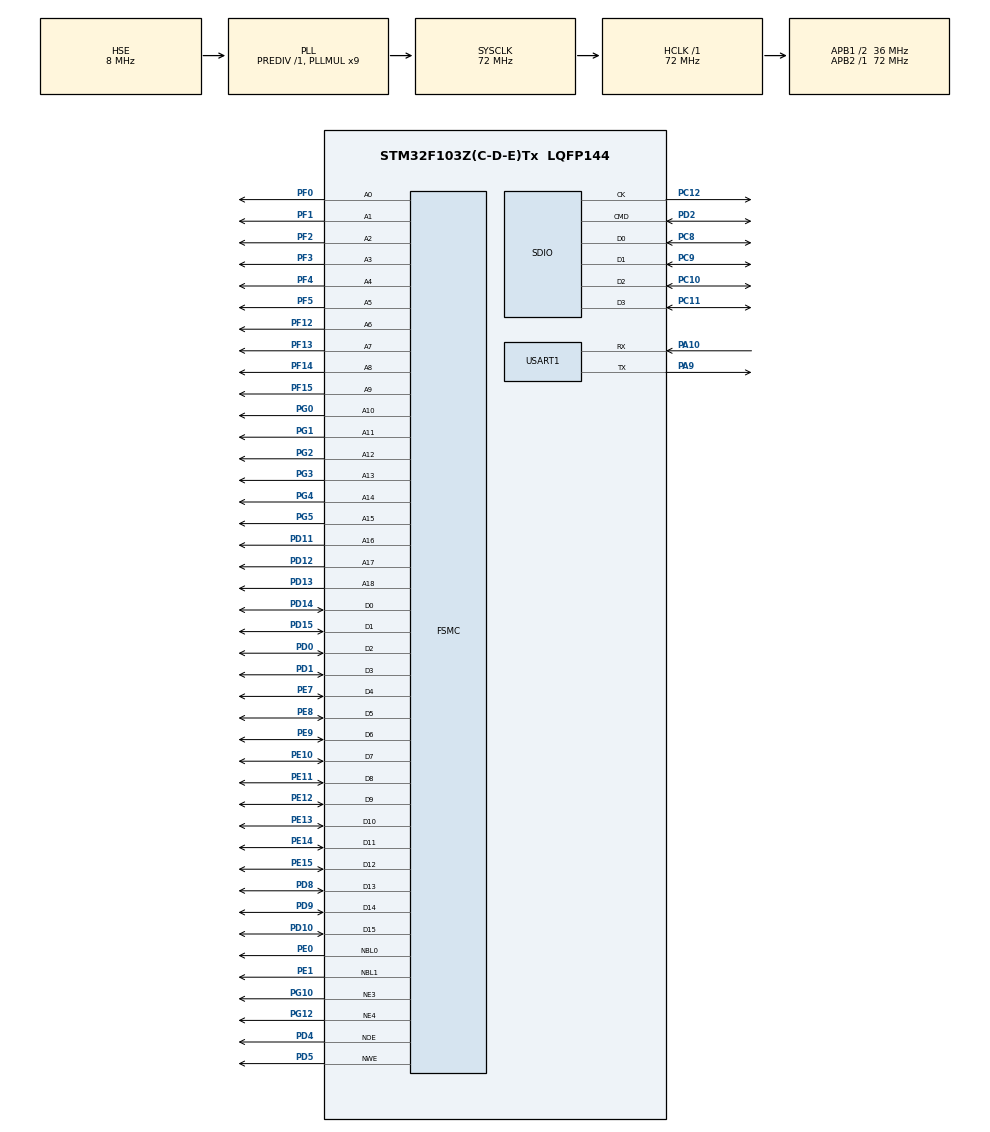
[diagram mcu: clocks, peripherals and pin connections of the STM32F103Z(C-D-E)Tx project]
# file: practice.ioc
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Dma.Request0=SDIO
Dma.SDIO.0.Direction=DMA_PERIPH_TO_MEMORY
Dma.SDIO.0.Instance=DMA2_Channel4
Dma.SDIO.0.MemDataAlignment=DMA_MDATAALIGN_WORD
Dma.SDIO.0.MemInc=DMA_MINC_ENABLE
Dma.SDIO.0.Mode=DMA_NORMAL
Dma.SDIO.0.PeriphDataAlignment=DMA_PDATAALIGN_WORD
Dma.SDIO.0.PeriphInc=DMA_PINC_DISABLE
Dma.SDIO.0.Priority=DMA_PRIORITY_LOW
FSMC.AccessMode3=FSMC_ACCESS_MODE_A
FSMC.AddressSetupTime3=4
FSMC.BusTurnAroundDuration3=0
FSMC.DataSetupTime3=2
FSMC.ExtendedAddressSetupTime3=2
FSMC.ExtendedBusTurnAroundDuration3=0
FSMC.ExtendedDataSetupTime3=2
FSMC.ExtendedMode3=FSMC_EXTENDED_MODE_ENABLE
FSMC.WriteOperation3=FSMC_WRITE_OPERATION_ENABLE
Mcu.Family=STM32F1
Mcu.Name=STM32F103Z(C-D-E)Tx
Mcu.Package=LQFP144
NVIC.DMA2_Channel4_5_IRQn=true\:1\:0\:true\:false\:true\:false\:true\:true
NVIC.PriorityGroup=NVIC_PRIORITYGROUP_4
NVIC.SDIO_IRQn=true\:0\:0\:false\:false\:true\:true\:true\:true
OSC_IN.Mode=HSE-External-Oscillator
OSC_IN.Signal=RCC_OSC_IN
OSC_OUT.Mode=HSE-External-Oscillator
OSC_OUT.Signal=RCC_OSC_OUT
PA10.Mode=Asynchronous
PA10.Signal=USART1_RX
PA13.Mode=Serial_Wire
PA13.Signal=SYS_JTMS-SWDIO
PA14.Mode=Serial_Wire
PA14.Signal=SYS_JTCK-SWCLK
PA9.Mode=Asynchronous
PA9.Signal=USART1_TX
PC10.Mode=SD_4_bits_Wide_bus
PC10.Signal=SDIO_D2
PC11.Mode=SD_4_bits_Wide_bus
PC11.Signal=SDIO_D3
PC12.Mode=SD_4_bits_Wide_bus
PC12.Signal=SDIO_CK
PC8.Mode=SD_4_bits_Wide_bus
PC8.Signal=SDIO_D0
PC9.Mode=SD_4_bits_Wide_bus
PC9.Signal=SDIO_D1
PD0.Signal=FSMC_D2_DA2
PD1.Signal=FSMC_D3_DA3
PD10.Signal=FSMC_D15_DA15
PD11.Signal=FSMC_A16_CLE
PD12.Signal=FSMC_A17_ALE
PD13.Signal=FSMC_A18
PD14.Signal=FSMC_D0_DA0
PD15.Signal=FSMC_D1_DA1
PD2.Mode=SD_4_bits_Wide_bus
PD2.Signal=SDIO_CMD
PD4.Signal=FSMC_NOE
PD5.Signal=FSMC_NWE
PD8.Signal=FSMC_D13_DA13
PD9.Signal=FSMC_D14_DA14
PE0.Signal=FSMC_NBL0
PE1.Signal=FSMC_NBL1
PE10.Signal=FSMC_D7_DA7
PE11.Signal=FSMC_D8_DA8
PE12.Signal=FSMC_D9_DA9
PE13.Signal=FSMC_D10_DA10
PE14.Signal=FSMC_D11_DA11
PE15.Signal=FSMC_D12_DA12
PE7.Signal=FSMC_D4_DA4
PE8.Signal=FSMC_D5_DA5
PE9.Signal=FSMC_D6_DA6
PF0.Signal=FSMC_A0
PF1.Signal=FSMC_A1
PF12.Signal=FSMC_A6
PF13.Signal=FSMC_A7
PF14.Signal=FSMC_A8
PF15.Signal=FSMC_A9
PF2.Signal=FSMC_A2
PF3.Signal=FSMC_A3
PF4.Signal=FSMC_A4
PF5.Signal=FSMC_A5
PG0.Signal=FSMC_A10
PG1.Signal=FSMC_A11
PG10.Mode=NorPsramChipSelect3_3
PG10.Signal=FSMC_NE3
PG12.Mode=NorPsramChipSelect4_4
PG12.Signal=FSMC_NE4
PG2.Signal=FSMC_A12
PG3.Signal=FSMC_A13
PG4.Signal=FSMC_A14
PG5.Signal=FSMC_A15
ProjectManager.HeapSize=0x200
ProjectManager.StackSize=0x400
ProjectManager.TargetToolchain=MDK-ARM V5.32
RCC.AHBFreq_Value=72000000
RCC.APB1CLKDivider=RCC_HCLK_DIV2
RCC.APB1Freq_Value=36000000
RCC.APB1TimFreq_Value=72000000
RCC.APB2Freq_Value=72000000
RCC.APB2TimFreq_Value=72000000
RCC.HCLKFreq_Value=72000000
RCC.PLLMUL=RCC_PLL_MUL9
RCC.PLLSourceVirtual=RCC_PLLSOURCE_HSE
RCC.SYSCLKFreq_VALUE=72000000
RCC.SYSCLKSource=RCC_SYSCLKSOURCE_PLLCLK
RCC.USBFreq_Value=72000000
SDIO.ClockDiv=4
SH.FSMC_A0.0=FSMC_A0,19b-a3
SH.FSMC_A1.0=FSMC_A1,19b-a3
SH.FSMC_A10.0=FSMC_A10,A10_4
SH.FSMC_A10.1=FSMC_A10,19b-a3
SH.FSMC_A11.0=FSMC_A11,19b-a3
SH.FSMC_A12.0=FSMC_A12,19b-a3
SH.FSMC_A13.0=FSMC_A13,19b-a3
SH.FSMC_A14.0=FSMC_A14,19b-a3
SH.FSMC_A15.0=FSMC_A15,19b-a3
SH.FSMC_A16_CLE.0=FSMC_A16,19b-a3
SH.FSMC_A17_ALE.0=FSMC_A17,19b-a3
SH.FSMC_A18.0=FSMC_A18,19b-a3
SH.FSMC_A2.0=FSMC_A2,19b-a3
SH.FSMC_A3.0=FSMC_A3,19b-a3
SH.FSMC_A4.0=FSMC_A4,19b-a3
SH.FSMC_A5.0=FSMC_A5,19b-a3
SH.FSMC_A6.0=FSMC_A6,19b-a3
SH.FSMC_A7.0=FSMC_A7,19b-a3
SH.FSMC_A8.0=FSMC_A8,19b-a3
SH.FSMC_A9.0=FSMC_A9,19b-a3
SH.FSMC_D0_DA0.0=FSMC_D0,16b-d4
SH.FSMC_D0_DA0.1=FSMC_D0,16b-d3
SH.FSMC_D10_DA10.0=FSMC_D10,16b-d4
SH.FSMC_D10_DA10.1=FSMC_D10,16b-d3
SH.FSMC_D11_DA11.0=FSMC_D11,16b-d4
SH.FSMC_D11_DA11.1=FSMC_D11,16b-d3
SH.FSMC_D12_DA12.0=FSMC_D12,16b-d4
SH.FSMC_D12_DA12.1=FSMC_D12,16b-d3
SH.FSMC_D13_DA13.0=FSMC_D13,16b-d4
SH.FSMC_D13_DA13.1=FSMC_D13,16b-d3
SH.FSMC_D14_DA14.0=FSMC_D14,16b-d4
SH.FSMC_D14_DA14.1=FSMC_D14,16b-d3
SH.FSMC_D15_DA15.0=FSMC_D15,16b-d4
SH.FSMC_D15_DA15.1=FSMC_D15,16b-d3
SH.FSMC_D1_DA1.0=FSMC_D1,16b-d4
SH.FSMC_D1_DA1.1=FSMC_D1,16b-d3
SH.FSMC_D2_DA2.0=FSMC_D2,16b-d4
SH.FSMC_D2_DA2.1=FSMC_D2,16b-d3
SH.FSMC_D3_DA3.0=FSMC_D3,16b-d4
SH.FSMC_D3_DA3.1=FSMC_D3,16b-d3
SH.FSMC_D4_DA4.0=FSMC_D4,16b-d4
SH.FSMC_D4_DA4.1=FSMC_D4,16b-d3
SH.FSMC_D5_DA5.0=FSMC_D5,16b-d4
SH.FSMC_D5_DA5.1=FSMC_D5,16b-d3
SH.FSMC_D6_DA6.0=FSMC_D6,16b-d4
SH.FSMC_D6_DA6.1=FSMC_D6,16b-d3
SH.FSMC_D7_DA7.0=FSMC_D7,16b-d4
SH.FSMC_D7_DA7.1=FSMC_D7,16b-d3
SH.FSMC_D8_DA8.0=FSMC_D8,16b-d4
SH.FSMC_D8_DA8.1=FSMC_D8,16b-d3
SH.FSMC_D9_DA9.0=FSMC_D9,16b-d4
SH.FSMC_D9_DA9.1=FSMC_D9,16b-d3
SH.FSMC_NBL0.0=FSMC_NBL0,2ByteEnable3
SH.FSMC_NBL1.0=FSMC_NBL1,2ByteEnable3
SH.FSMC_NOE.0=FSMC_NOE,Lcd4
SH.FSMC_NOE.1=FSMC_NOE,Sram3
SH.FSMC_NWE.0=FSMC_NWE,Lcd4
SH.FSMC_NWE.1=FSMC_NWE,Sram3
USART1.VirtualMode=VM_ASYNC
board=custom

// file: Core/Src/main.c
/* USER CODE BEGIN Header */
/**
  ******************************************************************************
  * @file           : main.c
  * @brief          : Main program body
  ******************************************************************************
  * @attention
  *
  * Copyright (c) 2022 STMicroelectronics.
  * All rights reserved.
  *
  * This software is licensed under terms that can be found in the LICENSE file
  * in the root directory of this software component.
  * If no LICENSE file comes with this software, it is provided AS-IS.
  *
  ******************************************************************************
  */
/* USER CODE END Header */
#include "main.h"
#include "dma.h"
#include "sdio.h"
#include "usart.h"
#include "gpio.h"
#include "fsmc.h"

/* USER CODE BEGIN Includes */
#include "ff.h"
#include "string.h"
#include "bsp_sdio_sd.h"
#include "delay.h"
#include "LCD_FSMC.h"
#include "bsp_flash_w25q.h"
#include "bsp_malloc.h"
#include "bsp_ov7725.h"
#include "bsp_usart.h"
//#include "bsp_malloc.h"
/* USER CODE END Includes */

void SystemClock_Config(void);

int main(void)
{
  /* USER CODE BEGIN 1 */
	uint32_t erro_code=0;
	uint8_t *p;

  /* USER CODE END 1 */

  /* MCU Configuration--------------------------------------------------------*/

  /* Reset of all peripherals, Initializes the Flash interface and the Systick. */
  HAL_Init();

  /* USER CODE BEGIN Init */

	//format.au_size=4096;
  /* USER CODE END Init */

  /* Configure the system clock */
  SystemClock_Config();

  /* Initialize all configured peripherals */
  MX_GPIO_Init();
  MX_DMA_Init();
  MX_FSMC_Init();
  MX_SDIO_SD_Init();
  MX_USART1_UART_Init();
  /* USER CODE BEGIN 2 */

	HAL_NVIC_SetPriorityGrouping(NVIC_PRIORITYGROUP_2);

	delay_init(72);
	bsp_SD_Init();
	flash_w25qxx_Init();
	bsp_ov7725_Init();
	uart_init(115200);

  /* USER CODE END 2 */

  /* Infinite loop */
  while (1)
  {

  }
}

void SystemClock_Config(void)
{
  RCC_OscInitTypeDef RCC_OscInitStruct = {0};
  RCC_ClkInitTypeDef RCC_ClkInitStruct = {0};

  /** Initializes the RCC Oscillators according to the specified parameters
  * in the RCC_OscInitTypeDef structure.
  */
  RCC_OscInitStruct.OscillatorType = RCC_OSCILLATORTYPE_HSE;
  RCC_OscInitStruct.HSEState = RCC_HSE_ON;
  RCC_OscInitStruct.HSEPredivValue = RCC_HSE_PREDIV_DIV1;
  RCC_OscInitStruct.HSIState = RCC_HSI_ON;
  RCC_OscInitStruct.PLL.PLLState = RCC_PLL_ON;
  RCC_OscInitStruct.PLL.PLLSource = RCC_PLLSOURCE_HSE;
  RCC_OscInitStruct.PLL.PLLMUL = RCC_PLL_MUL9;
  if (HAL_RCC_OscConfig(&RCC_OscInitStruct) != HAL_OK)
  {
    Error_Handler();
  }

  /** Initializes the CPU, AHB and APB buses clocks
  */
  RCC_ClkInitStruct.ClockType = RCC_CLOCKTYPE_HCLK|RCC_CLOCKTYPE_SYSCLK
                              |RCC_CLOCKTYPE_PCLK1|RCC_CLOCKTYPE_PCLK2;
  RCC_ClkInitStruct.SYSCLKSource = RCC_SYSCLKSOURCE_PLLCLK;
  RCC_ClkInitStruct.AHBCLKDivider = RCC_SYSCLK_DIV1;
  RCC_ClkInitStruct.APB1CLKDivider = RCC_HCLK_DIV2;
  RCC_ClkInitStruct.APB2CLKDivider = RCC_HCLK_DIV1;

  if (HAL_RCC_ClockConfig(&RCC_ClkInitStruct, FLASH_LATENCY_2) != HAL_OK)
  {
    Error_Handler();
  }
}

void Error_Handler(void)
{
  __disable_irq();
  while (1)
  {
  }
}
